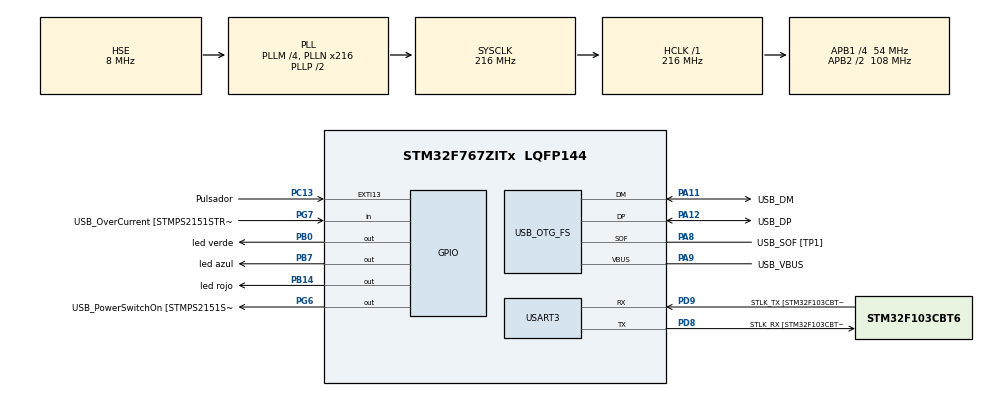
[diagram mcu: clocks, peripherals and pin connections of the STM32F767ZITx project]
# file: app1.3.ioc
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CORTEX_M7.default_mode_Activation=1
Mcu.Family=STM32F7
Mcu.Name=STM32F767ZITx
Mcu.Package=LQFP144
NVIC.PriorityGroup=NVIC_PRIORITYGROUP_4
PA1.GPIO_Label=RMII_REF_CLK [LAN8742A-CZ-TR_REFCLK0]
PA1.Signal=ETH_REF_CLK
PA10.GPIO_Label=USB_ID
PA10.Signal=USB_OTG_FS_ID
PA11.GPIO_Label=USB_DM
PA11.Mode=Device_Only
PA11.Signal=USB_OTG_FS_DM
PA12.GPIO_Label=USB_DP
PA12.Mode=Device_Only
PA12.Signal=USB_OTG_FS_DP
PA13.GPIO_Label=TMS
PA13.Mode=Serial_Wire
PA13.Signal=SYS_JTMS-SWDIO
PA14.GPIO_Label=TCK
PA14.Mode=Serial_Wire
PA14.Signal=SYS_JTCK-SWCLK
PA2.GPIO_Label=RMII_MDIO [LAN8742A-CZ-TR_MDIO]
PA2.Signal=ETH_MDIO
PA7.GPIO_Label=RMII_CRS_DV [LAN8742A-CZ-TR_CRS_DV]
PA7.Signal=ETH_CRS_DV
PA8.GPIO_Label=USB_SOF [TP1]
PA8.Mode=Activate_SOF_FS
PA8.Signal=USB_OTG_FS_SOF
PA9.GPIO_Label=USB_VBUS
PA9.Mode=Activate_VBUS
PA9.Signal=USB_OTG_FS_VBUS
PB0.GPIO_Label=led verde
PB0.Signal=GPIO_Output
PB13.GPIO_Label=RMII_TXD1 [LAN8742A-CZ-TR_TXD1]
PB13.Signal=ETH_TXD1
PB14.GPIO_Label=led rojo
PB14.Signal=GPIO_Output
PB3.GPIO_Label=SWO
PB3.Signal=SYS_JTDO-SWO
PB7.GPIO_Label=led azul
PB7.Signal=GPIO_Output
PC1.GPIO_Label=RMII_MDC [LAN8742A-CZ-TR_MDC]
PC1.Signal=ETH_MDC
PC13.GPIO_Label=Pulsador
PC13.Signal=GPXTI13
PC14/OSC32_IN.Mode=LSE-External-Oscillator
PC14/OSC32_IN.Signal=RCC_OSC32_IN
PC15/OSC32_OUT.Mode=LSE-External-Oscillator
PC15/OSC32_OUT.Signal=RCC_OSC32_OUT
PC4.GPIO_Label=RMII_RXD0 [LAN8742A-CZ-TR_RXD0]
PC4.Signal=ETH_RXD0
PC5.GPIO_Label=RMII_RXD1 [LAN8742A-CZ-TR_RXD1]
PC5.Signal=ETH_RXD1
PD8.GPIO_Label=STLK_RX [STM32F103CBT6_PA3]
PD8.Mode=Asynchronous
PD8.Signal=USART3_TX
PD9.GPIO_Label=STLK_TX [STM32F103CBT6_PA2]
PD9.Mode=Asynchronous
PD9.Signal=USART3_RX
PG11.GPIO_Label=RMII_TX_EN [LAN8742A-CZ-TR_TXEN]
PG11.Signal=ETH_TX_EN
PG13.GPIO_Label=RMII_TXD0 [LAN8742A-CZ-TR_TXD0]
PG13.Signal=ETH_TXD0
PG6.GPIO_Label=USB_PowerSwitchOn [STMPS2151STR_EN]
PG6.Signal=GPIO_Output
PG7.GPIO_Label=USB_OverCurrent [STMPS2151STR_FAULT]
PG7.Signal=GPIO_Input
PH0/OSC_IN.GPIO_Label=MCO [STM32F103CBT6_PA8]
PH0/OSC_IN.Mode=HSE-External-Clock-Source
PH0/OSC_IN.Signal=RCC_OSC_IN
PH1/OSC_OUT.Mode=HSE-External-Clock-Source
PH1/OSC_OUT.Signal=RCC_OSC_OUT
ProjectManager.HeapSize=0x200
ProjectManager.StackSize=0x400
ProjectManager.TargetToolchain=STM32CubeIDE
RCC.48MHZClocksFreq_Value=24000000
RCC.AHBFreq_Value=216000000
RCC.APB1CLKDivider=RCC_HCLK_DIV4
RCC.APB1Freq_Value=54000000
RCC.APB1TimFreq_Value=108000000
RCC.APB2CLKDivider=RCC_HCLK_DIV2
RCC.APB2Freq_Value=108000000
RCC.APB2TimFreq_Value=216000000
RCC.CortexFreq_Value=216000000
RCC.HCLKFreq_Value=216000000
RCC.HSE_VALUE=8000000
RCC.HSI_VALUE=16000000
RCC.PLLM=4
RCC.PLLMUL=RCC_PLL_MUL9
RCC.PLLN=216
RCC.PLLQ=9
RCC.PRESCALERUSB=RCC_USBCLKSOURCE_PLL_DIV1_5
RCC.SYSCLKFreq_VALUE=216000000
RCC.SYSCLKSource=RCC_SYSCLKSOURCE_PLLCLK
RCC.SYSCLKSourceVirtual=RCC_SYSCLKSOURCE_PLLCLK
RCC.USBFreq_Value=48000000
RCC.VCOOutputFreq_Value=432000000
USART3.VirtualMode-Asynchronous=VM_ASYNC
USB_OTG_FS.VirtualMode=Device_Only
board=NUCLEO-F767ZI

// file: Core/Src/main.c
/* USER CODE BEGIN Header */
/**
  ******************************************************************************
  * @file           : main.c
  * @brief          : Main program body
  ******************************************************************************
  * @attention
  *
  * Copyright (c) 2026 STMicroelectronics.
  * All rights reserved.
  *
  * This software is licensed under terms that can be found in the LICENSE file
  * in the root directory of this software component.
  * If no LICENSE file comes with this software, it is provided AS-IS.
  *
  ******************************************************************************
  */
/* USER CODE END Header */
#include "main.h"
#include "API_GPIO.h"

/* USER CODE BEGIN PD */
int Contador;

#define LED1 led_verde_Pin
#define LED2 led_azul_Pin
#define LED3 led_rojo_Pin

uint32_t tiempo_led1 = 0;
uint32_t tiempo_led2 = 0;
uint32_t tiempo_led3 = 0;
/* USER CODE END PD */

UART_HandleTypeDef huart3;
PCD_HandleTypeDef hpcd_USB_OTG_FS;

void SystemClock_Config(void);
static void MPU_Config(void);
//void MX_GPIO_Init(void);
static void MX_USART3_UART_Init(void);
static void MX_USB_OTG_FS_PCD_Init(void);

int main(void)
{

  /* MPU Configuration--------------------------------------------------------*/
  MPU_Config();

  /* MCU Configuration--------------------------------------------------------*/

  /* Reset of all peripherals, Initializes the Flash interface and the Systick. */
  HAL_Init();

  /* Configure the system clock */
  SystemClock_Config();

  /* Initialize all configured peripherals */
  MX_GPIO_Init();
  MX_USART3_UART_Init();
  MX_USB_OTG_FS_PCD_Init();

  /* Infinite loop */
  /* USER CODE BEGIN WHILE */
Reinicio:
HAL_GPIO_WritePin(led_verde_GPIO_Port, led_verde_Pin, GPIO_PIN_RESET);
HAL_GPIO_WritePin(led_azul_GPIO_Port, led_azul_Pin, GPIO_PIN_RESET);
HAL_GPIO_WritePin(led_rojo_GPIO_Port, led_rojo_Pin, GPIO_PIN_RESET);
  Contador = 0; //Reinicia el valor del contador.
    while (1)
    {
    	while (ReadButton_GPIO()==GPIO_PIN_RESET && Contador==0)
    	{

    	}
    	if(Contador==0){Contador  ++;}
        if(Contador==1)
        {
        	ToggleLed_GPIO(LED1);
        	HAL_Delay(150);
        	ToggleLed_GPIO(LED2);
        	HAL_Delay(150);
        	ToggleLed_GPIO(LED3);
        	HAL_Delay(150);
        	ToggleLed_GPIO(LED1);
            HAL_Delay(150);
            ToggleLed_GPIO(LED2);
            HAL_Delay(150);
            ToggleLed_GPIO(LED3);
            HAL_Delay(150);
            uint32_t tiempo_inicio = HAL_GetTick(); // Tomamos la "foto" del tiempo actual
            while ((HAL_GetTick() - tiempo_inicio) < 1000) // Corre en bucle por exactamente 3000 ms
                      {
                          if (ReadButton_GPIO() == GPIO_PIN_SET)
                          {
                            Contador++;    // Sumamos 1 al Contador de la placa
                            HAL_Delay(300); // Anti Rebote.
                          }
                      }
        }
        if(Contador==2)
                {
        	ToggleLed_GPIO(LED1);
        	ToggleLed_GPIO(LED2);
        	ToggleLed_GPIO(LED3);
                	HAL_Delay(300);
            ToggleLed_GPIO(LED1);
            ToggleLed_GPIO(LED2);
            ToggleLed_GPIO(LED3);
                    HAL_Delay(300);
            uint32_t tiempo_inicio = HAL_GetTick(); // Tomamos la "foto" del tiempo actual
                    while ((HAL_GetTick() - tiempo_inicio) < 1000) // Corre en bucle por exactamente 3000 ms
                              {
                                  if (ReadButton_GPIO() == GPIO_PIN_SET)
                                  {
                                    Contador++;    // Sumamos 1 al Contador de la placa
                                    HAL_Delay(300); // Anti Rebote.
                                  }
                              }
                }
        if(Contador == 3)
        {
            // 1. Inicializamos los cronómetros para los 3 segundos y para cada LED
            uint32_t tiempo_inicio = HAL_GetTick();
            uint32_t tiempo_led1   = tiempo_inicio;
            uint32_t tiempo_led2   = tiempo_inicio;
            uint32_t tiempo_led3   = tiempo_inicio;

            // 2. Ventana de análisis de 3000 ms
            while ((HAL_GetTick() - tiempo_inicio) < 3000)
            {
                uint32_t ahora = HAL_GetTick();

                // LED1: Alternancia cada 100 ms
                if (ahora - tiempo_led1 >= 100) {
                    tiempo_led1 = ahora;
                    ToggleLed_GPIO(LED1);
                }
                // LED2: Alternancia cada 300 ms
                if (ahora - tiempo_led2 >= 300) {
                    tiempo_led2 = ahora;
                    ToggleLed_GPIO(LED2);
                }
                // LED3: Alternancia cada 600 ms
                if (ahora - tiempo_led3 >= 600) {
                    tiempo_led3 = ahora;
                    ToggleLed_GPIO(LED3);
                }
            }
            WriteLedOff_GPIO(LED1);
            WriteLedOff_GPIO(LED2);
            WriteLedOff_GPIO(LED3);
        }
                    uint32_t tiempo_inicio = HAL_GetTick(); // Tomamos la "foto" del tiempo actual
                    while ((HAL_GetTick() - tiempo_inicio) < 1000) // Corre en bucle por exactamente 3000 ms
                              {
                                  if (ReadButton_GPIO() == GPIO_PIN_SET)
                                  {
                                    Contador++;    // Sumamos 1 al Contador de la placa
                                    HAL_Delay(300); // Anti Rebote.
                                  }
                              }
                    if(Contador == 4)
                    {
                        // LED1 (Verde) y LED3 (Rojo) ENCENDIDOS. LED2 (Azul) APAGADO.
                    	WriteLedOn_GPIO(LED1);
                    	WriteLedOn_GPIO(LED3);
                    	WriteLedOff_GPIO(LED2);

                        // 2. Inicializamos cronómetros
                        uint32_t tiempo_inicio = HAL_GetTick();
                        uint32_t tiempo_led    = tiempo_inicio; // Un solo cronómetro para los tres leds ya que van al mismo ritmo

                        uint8_t boton_listo = 1; // Flag para contar un solo clic por pulsación

                        // 3. Ventana de análisis de 3000 ms
                        while ((HAL_GetTick() - tiempo_inicio) < 3000)
                        {
                            uint32_t ahora = HAL_GetTick();
                            if (ahora - tiempo_led >= 150)
                            {
                                tiempo_led = ahora;

                                // Truco: Al hacerle toggle a los tres juntos, los que estaban en 1 pasan a 0
                                // y el que estaba en 0 pasa a 1. Se mantiene la inversión perfecta.
                                ToggleLed_GPIO(LED1);
                                ToggleLed_GPIO(LED2);
                                ToggleLed_GPIO(LED3);
                            }

                            if (ReadButton_GPIO() == GPIO_PIN_SET)
                            {
                                if (boton_listo)
                                {
                                    Contador++;       // Sumamos al Contador de la placa
                                    boton_listo = 0;  // Bloqueamos para evitar falsos conteos
                                }
                            }
                            else
                            {
                                boton_listo = 1; // Queda listo para el próximo toque al soltarlo
                            }

                            HAL_Delay(10); // Margen de estabilidad para el bucle
                        }
                    }
if (Contador>=5)
{goto Reinicio;}

                }
    }
    /* USER CODE END WHILE */
  /* USER CODE END 3 */

void SystemClock_Config(void)
{
  RCC_OscInitTypeDef RCC_OscInitStruct = {0};
  RCC_ClkInitTypeDef RCC_ClkInitStruct = {0};

  /** Configure LSE Drive Capability
  */
  HAL_PWR_EnableBkUpAccess();

  /** Configure the main internal regulator output voltage
  */
  __HAL_RCC_PWR_CLK_ENABLE();
  __HAL_PWR_VOLTAGESCALING_CONFIG(PWR_REGULATOR_VOLTAGE_SCALE1);

  /** Initializes the RCC Oscillators according to the specified parameters
  * in the RCC_OscInitTypeDef structure.
  */
  RCC_OscInitStruct.OscillatorType = RCC_OSCILLATORTYPE_HSE;
  RCC_OscInitStruct.HSEState = RCC_HSE_BYPASS;
  RCC_OscInitStruct.PLL.PLLState = RCC_PLL_ON;
  RCC_OscInitStruct.PLL.PLLSource = RCC_PLLSOURCE_HSE;
  RCC_OscInitStruct.PLL.PLLM = 4;
  RCC_OscInitStruct.PLL.PLLN = 216;
  RCC_OscInitStruct.PLL.PLLP = RCC_PLLP_DIV2;
  RCC_OscInitStruct.PLL.PLLQ = 9;
  RCC_OscInitStruct.PLL.PLLR = 2;
  if (HAL_RCC_OscConfig(&RCC_OscInitStruct) != HAL_OK)
  {
    Error_Handler();
  }

  /** Activate the Over-Drive mode
  */
  if (HAL_PWREx_EnableOverDrive() != HAL_OK)
  {
    Error_Handler();
  }

  /** Initializes the CPU, AHB and APB buses clocks
  */
  RCC_ClkInitStruct.ClockType = RCC_CLOCKTYPE_HCLK|RCC_CLOCKTYPE_SYSCLK
                              |RCC_CLOCKTYPE_PCLK1|RCC_CLOCKTYPE_PCLK2;
  RCC_ClkInitStruct.SYSCLKSource = RCC_SYSCLKSOURCE_PLLCLK;
  RCC_ClkInitStruct.AHBCLKDivider = RCC_SYSCLK_DIV1;
  RCC_ClkInitStruct.APB1CLKDivider = RCC_HCLK_DIV4;
  RCC_ClkInitStruct.APB2CLKDivider = RCC_HCLK_DIV2;

  if (HAL_RCC_ClockConfig(&RCC_ClkInitStruct, FLASH_LATENCY_7) != HAL_OK)
  {
    Error_Handler();
  }
}

static void MX_USART3_UART_Init(void)
{

  huart3.Instance = USART3;
  huart3.Init.BaudRate = 115200;
  huart3.Init.WordLength = UART_WORDLENGTH_8B;
  huart3.Init.StopBits = UART_STOPBITS_1;
  huart3.Init.Parity = UART_PARITY_NONE;
  huart3.Init.Mode = UART_MODE_TX_RX;
  huart3.Init.HwFlowCtl = UART_HWCONTROL_NONE;
  huart3.Init.OverSampling = UART_OVERSAMPLING_16;
  huart3.Init.OneBitSampling = UART_ONE_BIT_SAMPLE_DISABLE;
  huart3.AdvancedInit.AdvFeatureInit = UART_ADVFEATURE_NO_INIT;
  if (HAL_UART_Init(&huart3) != HAL_OK)
  {
    Error_Handler();
  }

}

static void MX_USB_OTG_FS_PCD_Init(void)
{

  hpcd_USB_OTG_FS.Instance = USB_OTG_FS;
  hpcd_USB_OTG_FS.Init.dev_endpoints = 6;
  hpcd_USB_OTG_FS.Init.speed = PCD_SPEED_FULL;
  hpcd_USB_OTG_FS.Init.dma_enable = DISABLE;
  hpcd_USB_OTG_FS.Init.phy_itface = PCD_PHY_EMBEDDED;
  hpcd_USB_OTG_FS.Init.Sof_enable = ENABLE;
  hpcd_USB_OTG_FS.Init.low_power_enable = DISABLE;
  hpcd_USB_OTG_FS.Init.lpm_enable = DISABLE;
  hpcd_USB_OTG_FS.Init.vbus_sensing_enable = ENABLE;
  hpcd_USB_OTG_FS.Init.use_dedicated_ep1 = DISABLE;
  if (HAL_PCD_Init(&hpcd_USB_OTG_FS) != HAL_OK)
  {
    Error_Handler();
  }

}

 /* MPU Configuration */

void MPU_Config(void)
{
  MPU_Region_InitTypeDef MPU_InitStruct = {0};

  /* Disables the MPU */
  HAL_MPU_Disable();

  /** Initializes and configures the Region and the memory to be protected
  */
  MPU_InitStruct.Enable = MPU_REGION_ENABLE;
  MPU_InitStruct.Number = MPU_REGION_NUMBER0;
  MPU_InitStruct.BaseAddress = 0x0;
  MPU_InitStruct.Size = MPU_REGION_SIZE_4GB;
  MPU_InitStruct.SubRegionDisable = 0x87;
  MPU_InitStruct.TypeExtField = MPU_TEX_LEVEL0;
  MPU_InitStruct.AccessPermission = MPU_REGION_NO_ACCESS;
  MPU_InitStruct.DisableExec = MPU_INSTRUCTION_ACCESS_DISABLE;
  MPU_InitStruct.IsShareable = MPU_ACCESS_SHAREABLE;
  MPU_InitStruct.IsCacheable = MPU_ACCESS_NOT_CACHEABLE;
  MPU_InitStruct.IsBufferable = MPU_ACCESS_NOT_BUFFERABLE;

  HAL_MPU_ConfigRegion(&MPU_InitStruct);
  /* Enables the MPU */
  HAL_MPU_Enable(MPU_PRIVILEGED_DEFAULT);

}

void Error_Handler(void)
{
  __disable_irq();
  while (1)
  {
  }
}
